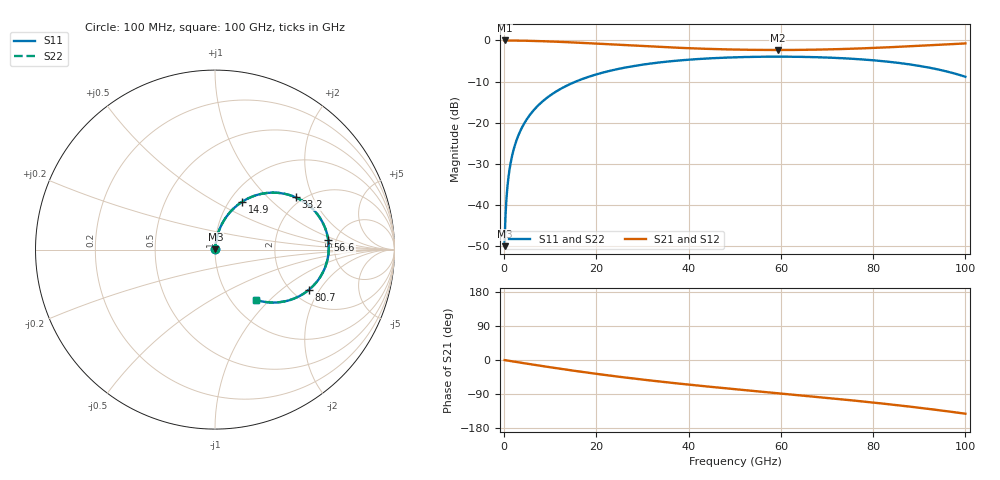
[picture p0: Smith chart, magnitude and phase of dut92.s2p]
! Touchstone file exported from HFSS 2026.1.0
!  File:  C:/ffzhzh/LocalFiles/Ansys_Project_Files/temp_train_RDL_92_1783498963_41296.aedt
!  Generated:  04:24:07 PM Jul  8, 2026
!  Design:  RDL
!  Project:  temp_train_RDL_92_1783498963_41296
! Variables:
!  h_bsmrdl = 2um
!  h_ox = 20um
!  h_rdl = 5um
!  h_sub = 80um
!  h_tmrdl = 4.58um
!  h_tsv = 80um
!  h_via = 3um
!  l_bsmrdl = 300um
!  l_sub = 881.7um
!  l_tmrdl = 481.7um
!  m_sub = 200um
!  pitch = 58.03um
!  r_tsv = 6um
!  s_tmrdl = 10um
!  w_bsmrdl = 18um
!  w_sub = 500um
!  w_tmrdl = 19.77um
!  x_tsv_center1 = 491.585um
!  x_tsv_center2 = 809.585um
!  x_tsv_center3 = 1311.055um
!  x_tsv_center4 = 1629.055um
!  x_tsv_center5 = 2130.525um
!  x_tsv_center6 = 2448.525um
# GHz S MA R 50.000000
! Terminal data exported
! Port[1] = TM_RDL1_1_T1
! Port[2] = TM_RDL1_1_T2
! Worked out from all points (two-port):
!   1000 points, 100 MHz to 100 GHz, reference 50 ohm
!   highest |S21| = -0.02 dB at 100 MHz (marker M1); lowest = -2.3 dB at 59.3 GHz (marker M2)
!   |S21| within 3 dB of the highest: start of sweep to end of sweep
!   lowest |S11| = -50.0 dB at 100 MHz (marker M3), VSWR 1.01, Z = 50.2 + j0.243 ohm
!   |S11| at or under -10 dB: start of sweep to 15.56 GHz
!   |S22| runs from -50.0 to -4.0 dB; largest |S21 - S12| = 1.6e-14
!   S11 on the Smith chart (normalised r, x): 100 MHz: 1.00, +0.00; 14.9 GHz: 1.14, +0.67; 33.2 GHz: 1.84, +1.50; 56.6 GHz: 4.31, +0.78; 80.7 GHz: 2.43, -1.61; 100 GHz: 1.29, -0.83
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0.1  0.003156 50.0  0.998 -0.2  0.998 -0.2  0.003156 50.0
! Gamma 0 0 0 0
! Port Impedance 50 0 50 0
0.8  0.01865 80.8  0.9974 -1.6  0.9974 -1.6  0.01865 80.8
1.3  0.02996 82.4  0.9969 -2.6  0.9969 -2.6  0.02996 82.4
2.2  0.05027 82.2  0.9957 -4.4  0.9957 -4.4  0.05027 82.2
3.6  0.08143 80.3  0.9929 -7.1  0.9929 -7.1  0.08143 80.3
5.5  0.1226 77.0  0.9876 -10.8  0.9876 -10.8  0.1226 77.0
8  0.1747 72.5  0.9786 -15.5  0.9786 -15.5  0.1747 72.5
11.1  0.2359 67.1  0.9647 -21.2  0.9647 -21.2  0.2359 67.1
14.9  0.305 60.6  0.9443 -27.9  0.9443 -27.9  0.305 60.6
16.8  0.3368 57.4  0.9332 -31.2  0.9332 -31.2  0.3368 57.4
24.6  0.4479 45.1  0.8849 -43.7  0.8849 -43.7  0.4479 45.1
33.2  0.5355 33.0  0.8352 -56.1  0.8352 -56.1  0.5354 33.0
33.4  0.5371 32.7  0.8342 -56.4  0.8342 -56.4  0.5371 32.7
41.8  0.5921 22.0  0.7967 -67.2  0.7967 -67.2  0.592 22.0
50.1  0.6229 12.2  0.7733 -77.1  0.7733 -77.1  0.6229 12.2
56.6  0.6333 4.9  0.7651 -84.6  0.7651 -84.6  0.6332 4.9
59.3  0.6342 1.9  0.7643 -87.7  0.7643 -87.7  0.6342 1.9
66.7  0.6269 -6.5  0.7702 -96.1  0.7702 -96.1  0.6268 -6.5
80.7  0.5686 -23.3  0.8124 -113.2  0.8124 -113.2  0.5686 -23.3
83.4  0.5495 -26.8  0.8248 -116.8  0.8248 -116.8  0.5495 -26.7
92.2  0.4658 -39.0  0.8725 -129.3  0.8725 -129.3  0.4658 -38.9
100  0.3612 -50.8  0.9182 -141.8  0.9182 -141.8  0.3611 -50.7
